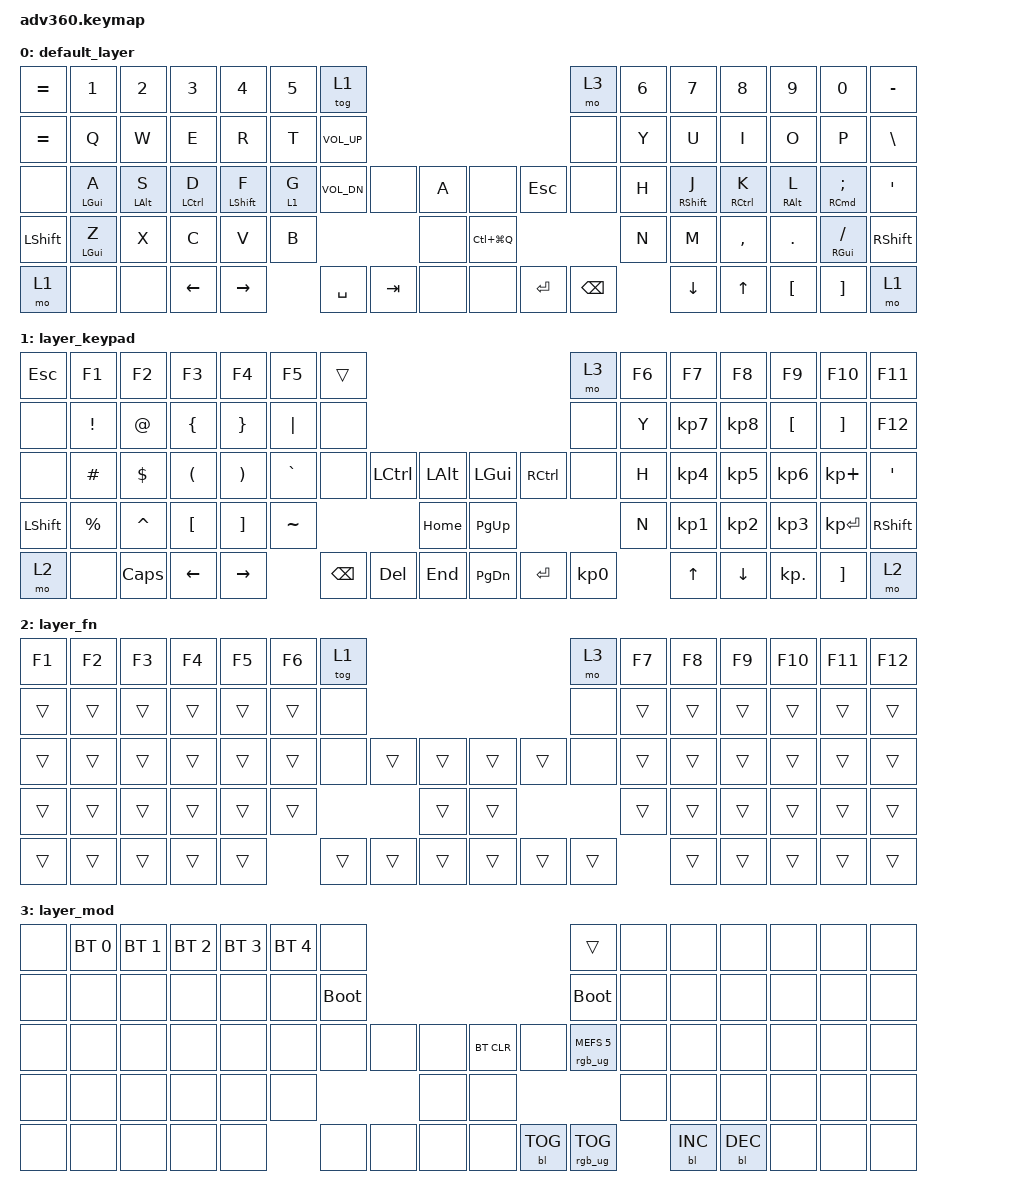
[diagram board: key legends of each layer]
/*
 * Copyright (c) 2020 The ZMK Contributors
 *
 * SPDX-License-Identifier: MIT
 */
/* THIS FILE WAS GENERATED!
 *
 * This file was generated automatically. You may or may not want to
 * edit it directly.
 */

#include <behaviors.dtsi>
#include <dt-bindings/zmk/backlight.h>
#include <dt-bindings/zmk/bt.h>
#include <dt-bindings/zmk/keys.h>
#include <dt-bindings/zmk/rgb.h>

/ {
    behaviors {
        #include "macros.dtsi"

        hm: homerow_mods {
            compatible = "zmk,behavior-hold-tap";
            label = "HOMEROW_MODS";
            #binding-cells = <2>;
            tapping-term-ms = <200>;
            quick_tap_ms = <175>;
            flavor = "tap-preferred";
            bindings = <&kp>, <&kp>;
        };

        hold_tap: hold_tap {
            compatible = "zmk,behavior-hold-tap";
            label = "HOLD_TAP";
            bindings = <&kp>, <&kp>;

            #binding-cells = <2>;
            tapping-term-ms = <200>;
            global-quick-tap;
            quick-tap-ms = <0>;
            flavor = "balanced";
        };
    };

    keymap {
        compatible = "zmk,keymap";

        default_layer {
            bindings = <
&kp EQUAL  &kp N1            &kp N2            &kp N3                    &kp N4              &kp N5   &tog 1                                                          &mo 3          &kp N6  &kp N7              &kp N8             &kp N9            &kp N0                    &kp MINUS
&kp EQUAL  &kp Q             &kp W             &kp E                     &kp R               &kp T    &kp C_VOLUME_UP                                                 &none          &kp Y   &kp U               &kp I              &kp O             &kp P                     &kp BSLH
&none      &hold_tap LGUI A  &hold_tap LALT S  &hold_tap LEFT_CONTROL D  &hold_tap LSHIFT F  &lt 1 G  &kp C_VOL_DN     &none    &kp A      &none          &kp ESCAPE  &none          &kp H   &hold_tap RSHIFT J  &hold_tap RCTRL K  &hold_tap RALT L  &hold_tap RCMD SEMICOLON  &kp SQT
&kp LSHFT  &hold_tap LGUI Z  &kp X             &kp C                     &kp V               &kp B                              &none      &kp LC(LG(Q))                             &kp N   &kp M               &kp COMMA          &kp DOT           &hold_tap RGUI SLASH      &kp RSHFT
&mo 1      &none             &none             &kp LEFT                  &kp RIGHT                    &kp SPACE        &kp TAB  &none      &none          &kp ENTER   &kp BACKSPACE          &kp DOWN_ARROW      &kp UP_ARROW       &kp LBKT          &kp RBKT                  &mo 1
            >;
        };

        layer_keypad {
            bindings = <
&kp ESC    &kp F1           &kp F2       &kp F3                &kp F4                 &kp F5     &trans                                                   &mo 3      &kp F6  &kp F7     &kp F8     &kp F9            &kp F10            &kp F11
&none      &kp EXCLAMATION  &kp AT_SIGN  &kp LEFT_BRACE        &kp RIGHT_BRACE        &kp PIPE   &none                                                    &none      &kp Y   &kp KP_N7  &kp KP_N8  &kp LEFT_BRACKET  &kp RIGHT_BRACKET  &kp F12
&none      &kp HASH         &kp DOLLAR   &kp LEFT_PARENTHESIS  &kp RIGHT_PARENTHESIS  &kp GRAVE  &none     &kp LCTRL  &kp LALT      &kp LGUI   &kp RCTRL  &none      &kp H   &kp KP_N4  &kp KP_N5  &kp KP_N6         &kp KP_PLUS        &kp SQT
&kp LSHFT  &kp PERCENT      &kp CARET    &kp LEFT_BRACKET      &kp RIGHT_BRACKET      &kp TILDE                       &kp HOME      &kp PG_UP                        &kp N   &kp KP_N1  &kp KP_N2  &kp KP_N3         &kp KP_ENTER       &kp RSHFT
&mo 2      &none            &kp CAPS     &kp LEFT              &kp RIGHT                         &kp BSPC  &kp DEL    &kp END       &kp PG_DN  &kp ENTER  &kp KP_N0          &kp UP     &kp DOWN   &kp KP_DOT        &kp RBKT           &mo 2
            >;
        };

        layer_fn {
            bindings = <
&kp F1  &kp F2  &kp F3  &kp F4  &kp F5  &kp F6  &tog 1                                      &mo 3   &kp F7  &kp F8  &kp F9  &kp F10  &kp F11  &kp F12
&trans  &trans  &trans  &trans  &trans  &trans  &none                                       &none   &trans  &trans  &trans  &trans   &trans   &trans
&trans  &trans  &trans  &trans  &trans  &trans  &none   &trans  &trans      &trans  &trans  &none   &trans  &trans  &trans  &trans   &trans   &trans
&trans  &trans  &trans  &trans  &trans  &trans                  &trans      &trans                  &trans  &trans  &trans  &trans   &trans   &trans
&trans  &trans  &trans  &trans  &trans          &trans  &trans  &trans      &trans  &trans  &trans          &trans  &trans  &trans   &trans   &trans
            >;
        };

        layer_mod {
            bindings = <
&none  &bt BT_SEL 0  &bt BT_SEL 1  &bt BT_SEL 2  &bt BT_SEL 3  &bt BT_SEL 4  &none                                                  &trans                  &none  &none       &none       &none  &none  &none
&none  &none         &none         &none         &none         &none         &bootloader                                            &bootloader             &none  &none       &none       &none  &none  &none
&none  &none         &none         &none         &none         &none         &none        &none  &none      &bt BT_CLR  &none       &rgb_ug RGB_MEFS_CMD 5  &none  &none       &none       &none  &none  &none
&none  &none         &none         &none         &none         &none                             &none      &none                                           &none  &none       &none       &none  &none  &none
&none  &none         &none         &none         &none                       &none        &none  &none      &none       &bl BL_TOG  &rgb_ug RGB_TOG                &bl BL_INC  &bl BL_DEC  &none  &none  &none
            >;
        };
    };
};
